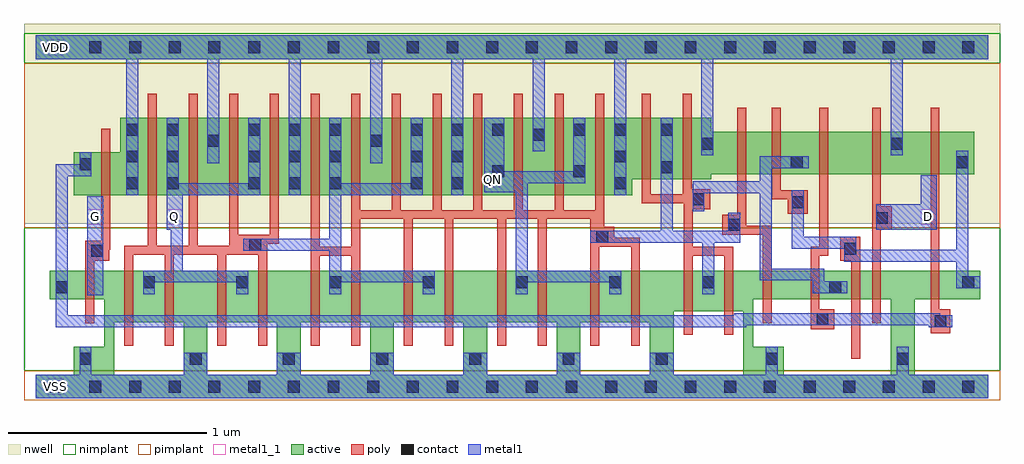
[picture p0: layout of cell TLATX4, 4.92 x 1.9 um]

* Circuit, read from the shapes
.subckt TLATX4 D G Q QN VDD VSS
M1 VSS G n1 VSS nfet w=0.145u l=0.045u
M2 Q n2 VSS VSS nfet w=0.26u l=0.045u m=4
M3 n2 n3 VSS VSS nfet w=0.26u l=0.045u m=4
M4 QN n3 VSS VSS nfet w=0.26u l=0.045u m=4
M5 n3 n4 VSS VSS nfet w=0.205u l=0.045u m=2
M6 n5 n3 VSS VSS nfet w=0.145u l=0.045u
M7 n4 n1 n5 VSS nfet w=0.145u l=0.045u
M8 n6 n7 n4 VSS nfet w=0.145u l=0.045u
M9 VSS D n6 VSS nfet w=0.145u l=0.045u
M10 n7 n1 VSS VSS nfet w=0.145u l=0.045u
M11 VDD G n1 VDD pfet w=0.215u l=0.045u
M12 Q n2 VDD VDD pfet w=0.39u l=0.045u m=4
M13 n2 n3 VDD VDD pfet w=0.39u l=0.045u m=4
M14 QN n3 VDD VDD pfet w=0.39u l=0.045u m=4
M15 n3 n4 VDD VDD pfet w=0.31u l=0.045u m=2
M16 n8 n3 VDD VDD pfet w=0.215u l=0.045u
M17 n4 n7 n8 VDD pfet w=0.215u l=0.045u
M18 n9 n1 n4 VDD pfet w=0.215u l=0.045u
M19 VDD D n9 VDD pfet w=0.215u l=0.045u
M20 n7 n1 VDD VDD pfet w=0.215u l=0.045u
.ends

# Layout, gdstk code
import gdstk
lib = gdstk.Library(unit=1e-6, precision=5e-10)
def R(c, l, rs):  # rectangles x0, y0, x1, y1
    for r in rs: c.add(gdstk.rectangle(r[:2], r[2:], *l))
def A(c, l, x, y, w, h, nx, ny, dx, dy):  # array of equal rectangles
    R(c, l, [(x+i*dx, y+j*dy, x+i*dx+w, y+j*dy+h) for i in range(nx) for j in range(ny)])
def P(c, l, *ps):  # polygons
    for p in ps: c.add(gdstk.Polygon(p, *l))
active = (1, 0)
nwell = (2, 0)
poly = (3, 0)
nimplant = (4, 0)
pimplant = (5, 0)
contact = (6, 0)
metal1 = (7, 0)
metal1_1 = (7, 1)

tlatx4 = lib.new_cell('TLATX4')
R(tlatx4, active, [(0,1.65,4.8,1.77)])
P(tlatx4, active, [(0.425,1.355),(3.405,1.355),(3.405,1.285),(4.73,1.285),(4.73,1.07),(3.405,1.07),(3.405,1.045),(3.005,1.045),(3.005,0.965),(0.19,0.965),(0.19,1.18),(0.425,1.18)],
  [(0.07,0.585),(4.76,0.585),(4.76,0.44),(4.43,0.44),(4.43,0.06),(4.8,0.06),(4.8,-0.06),(0,-0.06),(0,0.06),(0.19,0.06),(0.19,0.2),(0.345,0.2),(0.345,0.325),(0.395,0.325),(0.395,0.06),(0.745,0.06),(0.745,0.325),(0.865,0.325),(0.865,0.06),(1.215,0.06),(1.215,0.325),(1.335,0.325),(1.335,0.06),(1.685,0.06),(1.685,0.325),(1.805,0.325),(1.805,0.06),(2.155,0.06),(2.155,0.325),(2.275,0.325),(2.275,0.06),(2.625,0.06),(2.625,0.325),(2.745,0.325),(2.745,0.06),(3.095,0.06),(3.095,0.325),(0.345,0.325),(0.345,0.38),(3.215,0.38),(3.215,0.06),(3.565,0.06),(3.565,0.38),(0.345,0.38),(0.345,0.44),(3.615,0.44),(3.615,0.2),(3.77,0.2),(3.77,0.06),(4.31,0.06),(4.31,0.44),(0.07,0.44)])
R(tlatx4, nwell, [(-0.06,0.82,4.86,1.83)])
P(tlatx4, poly, [(0.565,1.475),(0.61,1.475),(0.61,0.71),(0.77,0.71),(0.77,1.475),(0.815,1.475),(0.815,0.71),(0.975,0.71),(0.975,1.475),(1.02,1.475),(1.02,0.765),(1.18,0.765),(1.18,1.475),(1.225,1.475),(1.225,0.72),(1.165,0.72),(1.165,0.205),(1.12,0.205),(1.12,0.665),(0.96,0.665),(0.96,0.205),(0.915,0.205),(0.915,0.665),(0.695,0.665),(0.695,0.205),(0.65,0.205),(0.65,0.665),(0.49,0.665),(0.49,0.205),(0.445,0.205),(0.445,0.71),(0.565,0.71)],
  [(1.385,1.475),(1.43,1.475),(1.43,0.705),(1.59,0.705),(1.59,1.475),(1.635,1.475),(1.635,0.89),(1.795,0.89),(1.795,1.475),(1.84,1.475),(1.84,0.89),(2,0.89),(2,1.475),(2.045,1.475),(2.045,0.89),(2.205,0.89),(2.205,1.475),(2.25,1.475),(2.25,0.89),(2.41,0.89),(2.41,1.475),(2.455,1.475),(2.455,0.89),(2.615,0.89),(2.615,1.475),(2.66,1.475),(2.66,0.89),(2.82,0.89),(2.82,1.475),(2.865,1.475),(2.865,0.805),(2.915,0.805),(2.915,0.75),(3.045,0.75),(3.045,0.205),(3,0.205),(3,0.705),(2.84,0.705),(2.84,0.205),(2.795,0.205),(2.795,0.845),(2.575,0.845),(2.575,0.205),(2.53,0.205),(2.53,0.845),(2.37,0.845),(2.37,0.205),(2.325,0.205),(2.325,0.845),(2.105,0.845),(2.105,0.205),(2.06,0.205),(2.06,0.845),(1.9,0.845),(1.9,0.205),(1.855,0.205),(1.855,0.845),(1.635,0.845),(1.635,0.205),(1.59,0.205),(1.59,0.66),(1.43,0.66),(1.43,0.205),(1.385,0.205)],
  [(3.055,1.475),(3.1,1.475),(3.1,0.97),(3.26,0.97),(3.26,1.475),(3.305,1.475),(3.305,0.995),(3.4,0.995),(3.4,0.895),(3.31,0.895),(3.31,0.705),(3.515,0.705),(3.515,0.26),(3.47,0.26),(3.47,0.66),(3.31,0.66),(3.31,0.26),(3.265,0.26),(3.265,0.925),(3.055,0.925)],
  [(0.33,1.3),(0.375,1.3),(0.375,0.69),(0.37,0.69),(0.37,0.635),(0.295,0.635),(0.295,0.32),(0.25,0.32),(0.25,0.735),(0.33,0.735)],
  [(3.535,1.405),(3.58,1.405),(3.58,0.81),(3.71,0.81),(3.71,0.32),(3.665,0.32),(3.665,0.765),(3.46,0.765),(3.46,0.865),(3.535,0.865)],
  [(3.71,1.405),(3.755,1.405),(3.755,0.99),(3.89,0.99),(3.89,0.87),(3.79,0.87),(3.79,0.945),(3.71,0.945)],
  [(3.95,1.405),(3.995,1.405),(3.995,0.66),(3.95,0.66),(3.95,0.39),(4.025,0.39),(4.025,0.29),(3.905,0.29),(3.905,0.705),(3.95,0.705)],
  [(4.215,1.405),(4.26,1.405),(4.26,0.91),(4.315,0.91),(4.315,0.79),(4.26,0.79),(4.26,0.32),(4.215,0.32)],
  [(4.51,1.405),(4.555,1.405),(4.555,0.39),(4.61,0.39),(4.61,0.27),(4.51,0.27)],
  [(4.055,0.755),(4.155,0.755),(4.155,0.14),(4.11,0.14),(4.11,0.635),(4.055,0.635)])
R(tlatx4, nimplant, [(-0.06,0.08,4.86,0.8), (-0.06,1.63,4.86,1.78)])
R(tlatx4, pimplant, [(-0.06,-0.07,4.86,0.08), (-0.06,0.8,4.86,1.63)])
A(tlatx4, contact, 0.07, -0.03, 0.06, 0.06, 24, 2, 0.2, 1.71)
A(tlatx4, contact, 0.775, 0.11, 0.06, 0.06, 6, 1, 0.47, 0)
A(tlatx4, contact, 0.54, 0.495, 0.06, 0.06, 7, 1, 0.47, 0)
A(tlatx4, contact, 0.455, 0.995, 0.06, 0.06, 1, 3, 0, 0.135)
A(tlatx4, contact, 0.66, 0.995, 0.06, 0.06, 1, 3, 0, 0.135)
A(tlatx4, contact, 1.07, 0.995, 0.06, 0.06, 3, 3, 0.205, 0.135)
A(tlatx4, contact, 2.915, 0.995, 0.06, 0.06, 1, 3, 0, 0.135)
A(tlatx4, contact, 1.89, 1.265, 0.06, 0.06, 3, 1, 0.205, 0)
R(tlatx4, contact, [(0.22,0.11,0.28,0.17), (3.68,0.11,3.74,0.17), (4.34,0.11,4.4,0.17), (4.53,0.3,4.59,0.36), (3.935,0.31,3.995,0.37), (0.1,0.47,0.16,0.53), (4,0.47,4.06,0.53), (4.67,0.495,4.73,0.555), (0.28,0.655,0.34,0.715), (4.075,0.665,4.135,0.725), (1.075,0.685,1.135,0.745), (2.825,0.725,2.885,0.785), (3.49,0.785,3.55,0.845), (4.235,0.82,4.295,0.88), (3.81,0.9,3.87,0.96), (3.31,0.915,3.37,0.975), (1.89,0.995,1.95,1.055), (2.095,0.995,2.155,1.055), (2.3,1.055,2.36,1.115), (2.71,1.055,2.77,1.115), (3.15,1.075,3.21,1.135), (0.22,1.09,0.28,1.15), (3.805,1.1,3.865,1.16), (4.64,1.1,4.7,1.16), (1.89,1.13,1.95,1.19), (2.095,1.13,2.155,1.19), (3.355,1.195,3.415,1.255), (4.31,1.195,4.37,1.255), (0.865,1.21,0.925,1.27), (1.685,1.21,1.745,1.27), (2.505,1.24,2.565,1.3), (2.71,1.265,2.77,1.325), (3.15,1.265,3.21,1.325)])
R(tlatx4, metal1, [(0.26,0.46,0.34,0.96)])
P(tlatx4, metal1, [(0,1.77),(4.8,1.77),(4.8,1.65),(4.37,1.65),(4.37,1.165),(4.31,1.165),(4.31,1.65),(3.415,1.65),(3.415,1.165),(3.355,1.165),(3.355,1.65),(2.975,1.65),(2.975,0.965),(2.915,0.965),(2.915,1.65),(2.565,1.65),(2.565,1.185),(2.505,1.185),(2.505,1.65),(2.155,1.65),(2.155,0.965),(2.095,0.965),(2.095,1.65),(1.745,1.65),(1.745,1.125),(1.685,1.125),(1.685,1.65),(1.335,1.65),(1.335,0.965),(1.275,0.965),(1.275,1.65),(0.925,1.65),(0.925,1.125),(0.865,1.125),(0.865,1.65),(0.515,1.65),(0.515,0.965),(0.455,0.965),(0.455,1.65),(0,1.65)],
  [(0.22,1.18),(0.28,1.18),(0.28,1.06),(0.16,1.06),(0.16,0.36),(3.52,0.36),(3.52,0.37),(4.56,0.37),(4.56,0.36),(4.62,0.36),(4.62,0.3),(4.5,0.3),(4.5,0.31),(3.58,0.31),(3.58,0.3),(0.1,0.3),(0.1,1.12),(0.22,1.12)],
  [(0.66,1.355),(0.72,1.355),(0.72,1.025),(1.07,1.025),(1.07,1.355),(1.13,1.355),(1.13,0.965),(0.74,0.965),(0.74,0.585),(1.07,0.585),(1.07,0.465),(1.01,0.465),(1.01,0.525),(0.6,0.525),(0.6,0.465),(0.54,0.465),(0.54,0.585),(0.68,0.585),(0.68,0.79),(0.66,0.79)],
  [(1.48,1.355),(1.54,1.355),(1.54,1.025),(1.89,1.025),(1.89,1.355),(1.95,1.355),(1.95,0.965),(1.54,0.965),(1.54,0.585),(2.01,0.585),(2.01,0.465),(1.95,0.465),(1.95,0.525),(1.54,0.525),(1.54,0.465),(1.48,0.465),(1.48,0.685),(1.045,0.685),(1.045,0.745),(1.48,0.745)],
  [(2.26,1.355),(2.36,1.355),(2.36,1.085),(2.71,1.085),(2.71,1.355),(2.77,1.355),(2.77,1.025),(2.48,1.025),(2.48,0.585),(2.95,0.585),(2.95,0.465),(2.89,0.465),(2.89,0.525),(2.48,0.525),(2.48,0.465),(2.42,0.465),(2.42,0.98),(2.26,0.98)],
  [(3.15,1.355),(3.21,1.355),(3.21,0.785),(3.49,0.785),(3.49,0.875),(3.55,0.875),(3.55,0.725),(3.42,0.725),(3.42,0.465),(3.36,0.465),(3.36,0.725),(2.795,0.725),(2.795,0.785),(3.15,0.785)],
  [(3.65,1.16),(3.895,1.16),(3.895,1.1),(3.71,1.1),(3.71,0.595),(3.975,0.595),(3.975,0.53),(4.09,0.53),(4.09,0.47),(3.915,0.47),(3.915,0.535),(3.65,0.535),(3.65,0.975),(3.37,0.975),(3.37,0.885),(3.31,0.885),(3.31,1.035),(3.65,1.035)],
  [(3.81,0.99),(3.87,0.99),(3.87,0.755),(4.135,0.755),(4.135,0.69),(4.64,0.69),(4.64,1.19),(4.7,1.19),(4.7,0.555),(4.76,0.555),(4.76,0.495),(4.64,0.495),(4.64,0.63),(4.075,0.63),(4.075,0.695),(3.81,0.695)],
  [(4.46,1.065),(4.54,1.065),(4.54,0.79),(4.235,0.79),(4.235,0.92),(4.46,0.92)],
  [(0.22,0.2),(0.28,0.2),(0.28,0.06),(0.745,0.06),(0.745,0.17),(0.865,0.17),(0.865,0.06),(1.215,0.06),(1.215,0.17),(1.335,0.17),(1.335,0.06),(1.685,0.06),(1.685,0.17),(1.805,0.17),(1.805,0.06),(2.155,0.06),(2.155,0.17),(2.275,0.17),(2.275,0.06),(2.625,0.06),(2.625,0.17),(2.745,0.17),(2.745,0.06),(3.095,0.06),(3.095,0.17),(3.215,0.17),(3.215,0.06),(3.68,0.06),(3.68,0.2),(3.74,0.2),(3.74,0.06),(4.34,0.06),(4.34,0.2),(4.4,0.2),(4.4,0.06),(4.8,0.06),(4.8,-0.06),(0,-0.06),(0,0.06),(0.22,0.06)])
R(tlatx4, metal1_1, [(0.06,-0.04,0.14,0.04), (0.26,0.815,0.34,0.895), (0.66,0.815,0.74,0.895), (4.46,0.815,4.54,0.895), (2.26,1.005,2.34,1.085), (0.06,1.67,0.14,1.75)])
tlatx4.add(gdstk.Label('QN', (2.3,1.045), layer=7, texttype=1))
tlatx4.add(gdstk.Label('Q', (0.7,0.855), layer=7, texttype=1))
tlatx4.add(gdstk.Label('D', (4.5,0.855), layer=7, texttype=1))
tlatx4.add(gdstk.Label('G', (0.3,0.855), layer=7, texttype=1))
tlatx4.add(gdstk.Label('VDD', (0.1,1.71), layer=7, texttype=1))
tlatx4.add(gdstk.Label('VSS', (0.1,0), layer=7, texttype=1))
tlatx4.add(gdstk.Label('TLATX4', (0,0), layer=63, texttype=0))

lib.write_gds('TLATX4.gds')
